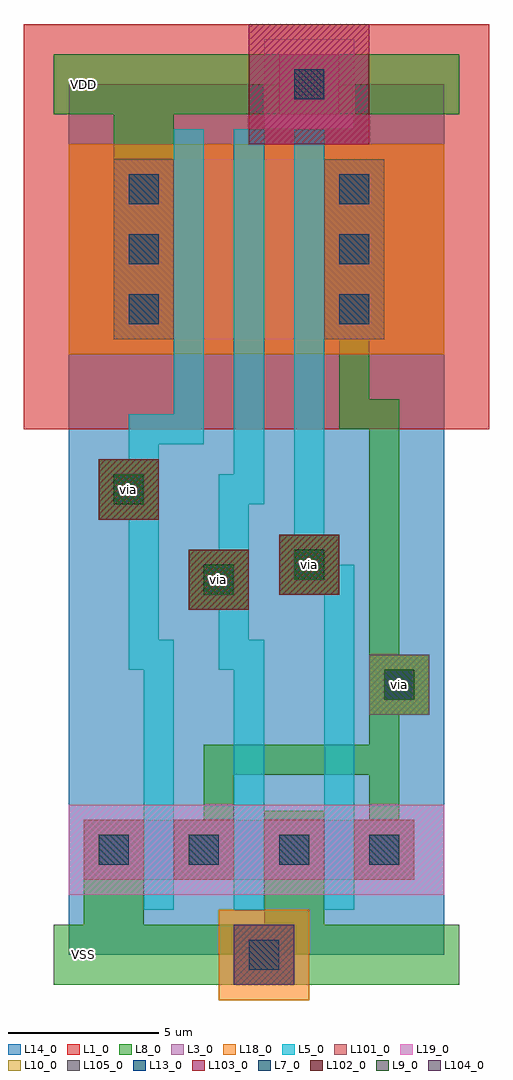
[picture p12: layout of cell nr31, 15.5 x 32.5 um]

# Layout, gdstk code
import gdstk
lib = gdstk.Library(unit=1e-6, precision=1e-09)
def R(c, l, rs):  # rectangles x0, y0, x1, y1
    for r in rs: c.add(gdstk.rectangle(r[:2], r[2:], *l))
L1_0 = (1, 0)
L3_0 = (3, 0)
L5_0 = (5, 0)
L7_0 = (7, 0)
L8_0 = (8, 0)
L9_0 = (9, 0)
L10_0 = (10, 0)
L13_0 = (13, 0)
L14_0 = (14, 0)
L18_0 = (18, 0)
L19_0 = (19, 0)
L101_0 = (101, 0)
L102_0 = (102, 0)
L103_0 = (103, 0)
L104_0 = (104, 0)
L105_0 = (105, 0)

via = lib.new_cell('Via')
R(via, L8_0, [(-1,-1,1,1)])
R(via, L9_0, [(-0.5,-0.5,0.5,0.5)])
R(via, L10_0, [(-1,-1,1,1)])
R(via, L13_0, [(-0.5,-0.5,0.5,0.5)])
R(via, L105_0, [(-1,-1,1,1)])
via.add(gdstk.Label('via', (0,0), layer=13, texttype=0))

dcont = lib.new_cell('dcont')
R(dcont, L3_0, [(-1,-1,1,1)])
R(dcont, L7_0, [(-0.5,-0.5,0.5,0.5)])
R(dcont, L8_0, [(-1,-1,1,1)])
R(dcont, L13_0, [(-0.5,-0.5,0.5,0.5)])
R(dcont, L101_0, [(-1,-1,1,1)])
dcont.add(gdstk.Label('dcont', (0,0), layer=13, texttype=0))

pcont = lib.new_cell('pcont')
R(pcont, L5_0, [(-1,-1,1,1)])
R(pcont, L7_0, [(-0.5,-0.5,0.5,0.5)])
R(pcont, L8_0, [(-1,-1,1,1)])
R(pcont, L102_0, [(-1,-1,1,1)])
pcont.add(gdstk.Label('pcont', (0,0), layer=13, texttype=0))

psubcont = lib.new_cell('psubcont')
R(psubcont, L18_0, [(-1.5,-1.5,1.5,1.5)])
R(psubcont, L104_0, [(-1,-1,1,1)])
psubcont.add(gdstk.Reference(dcont, (0,0)))
psubcont.add(gdstk.Label('PScon', (0,0), layer=13, texttype=0))

nsubcont = lib.new_cell('nsubcont')
R(nsubcont, L1_0, [(-2,-2,2,2)])
R(nsubcont, L19_0, [(-1.5,-1.5,1.5,1.5)])
R(nsubcont, L103_0, [(-2,-2,2,2)])
nsubcont.add(gdstk.Reference(dcont, (0,0)))
nsubcont.add(gdstk.Label('NScont', (0,0), layer=13, texttype=0))

nr31 = lib.new_cell('nr31')
R(nr31, L1_0, [(-1.5,17.5,14,31)])
R(nr31, L3_0, [(0.5,2.5,8.5,4.5), (8.5,2.5,11.5,4.5), (1.5,20.5,10.5,26.5)])
R(nr31, L8_0, [(-0.5,-1,13,1), (10,8,12,10), (4,11.5,6,13.5), (7,12,9,14), (1,14.5,3,16.5), (-0.5,28,13,30)])
R(nr31, L10_0, [(10,8,12,10), (4,11.5,6,13.5), (7,12,9,14), (1,14.5,3,16.5)])
R(nr31, L14_0, [(0,0,12.5,29)])
R(nr31, L18_0, [(0,20,12.5,27)])
R(nr31, L19_0, [(0,2,12.5,5)])
R(nr31, L105_0, [(10,8,12,10), (4,11.5,6,13.5), (7,12,9,14), (1,14.5,3,16.5)])
nr31.add(gdstk.FlexPath([(9.5,20.5),(9.5,18),(10.5,18),(10.5,3.6)], 1, ends="extended", simple_path=True, layer=8, datatype=0))  # L8_0
nr31.add(gdstk.FlexPath([(9.5,22.3),(9.5,25.5)], 1.4, ends="extended", simple_path=True, layer=8, datatype=0))  # L8_0
nr31.add(gdstk.FlexPath([(5,3.5),(5,6.5),(10.5,6.5)], 1, ends="extended", simple_path=True, layer=8, datatype=0))  # L8_0
nr31.add(gdstk.FlexPath([(7.5,1),(7.5,3.8)], 2, ends="extended", simple_path=True, layer=8, datatype=0))  # L8_0
nr31.add(gdstk.FlexPath([(2.5,21.5),(2.5,28.5)], 2, ends="extended", simple_path=True, layer=8, datatype=0))  # L8_0
nr31.add(gdstk.FlexPath([(1.5,1),(1.5,3.5)], 2, ends="extended", simple_path=True, layer=8, datatype=0))  # L8_0
nr31.add(gdstk.FlexPath([(4,27),(4,17.5),(2.5,17.5),(2.5,10),(3,10),(3,2)], 1, ends="extended", simple_path=True, layer=5, datatype=0))  # L5_0
nr31.add(gdstk.FlexPath([(6,27),(6,15.5),(5.5,15.5),(5.5,10),(6,10),(6,2)], 1, ends="extended", simple_path=True, layer=5, datatype=0))  # L5_0
nr31.add(gdstk.FlexPath([(8,27),(8,12.5),(9,12.5),(9,2)], 1, ends="extended", simple_path=True, layer=5, datatype=0))  # L5_0
nr31.add(gdstk.Reference(via, (2,15.5)))
nr31.add(gdstk.Reference(dcont, (2.5,25.5)))
nr31.add(gdstk.Reference(dcont, (9.5,25.5)))
nr31.add(gdstk.Reference(dcont, (2.5,23.5)))
nr31.add(gdstk.Reference(dcont, (4.5,3.5)))
nr31.add(gdstk.Reference(via, (11,9)))
nr31.add(gdstk.Reference(pcont, (5,12.5)))
nr31.add(gdstk.Reference(dcont, (9.5,21.5)))
nr31.add(gdstk.Reference(via, (8,13)))
nr31.add(gdstk.Reference(dcont, (7.5,3.5)))
nr31.add(gdstk.Reference(dcont, (1.5,3.5)))
nr31.add(gdstk.Reference(dcont, (9.5,23.5)))
nr31.add(gdstk.Reference(pcont, (8,13)))
nr31.add(gdstk.Reference(via, (5,12.5)))
nr31.add(gdstk.Reference(dcont, (10.5,3.5)))
nr31.add(gdstk.Reference(psubcont, (6.5,0)))
nr31.add(gdstk.Reference(nsubcont, (8,29)))
nr31.add(gdstk.Reference(pcont, (2,15.5)))
nr31.add(gdstk.Reference(dcont, (2.5,21.5)))
nr31.add(gdstk.Label('VDD', (0.5,29), layer=8, texttype=0))
nr31.add(gdstk.Label('VSS', (0.5,0), layer=8, texttype=0))
nr31.add(gdstk.Label('via', (2,15.5), layer=13, texttype=0))
nr31.add(gdstk.Label('via', (5,12.5), layer=13, texttype=0))
nr31.add(gdstk.Label('via', (8,13), layer=13, texttype=0))
nr31.add(gdstk.Label('via', (11,9), layer=13, texttype=0))
nr31.add(gdstk.Label('A', (2,15.5), layer=10, texttype=0))
nr31.add(gdstk.Label('B', (5,12.5), layer=10, texttype=0))
nr31.add(gdstk.Label('C', (8,13), layer=10, texttype=0))
nr31.add(gdstk.Label('X', (11,9), layer=10, texttype=0))

lib.write_gds('nr31.gds')
